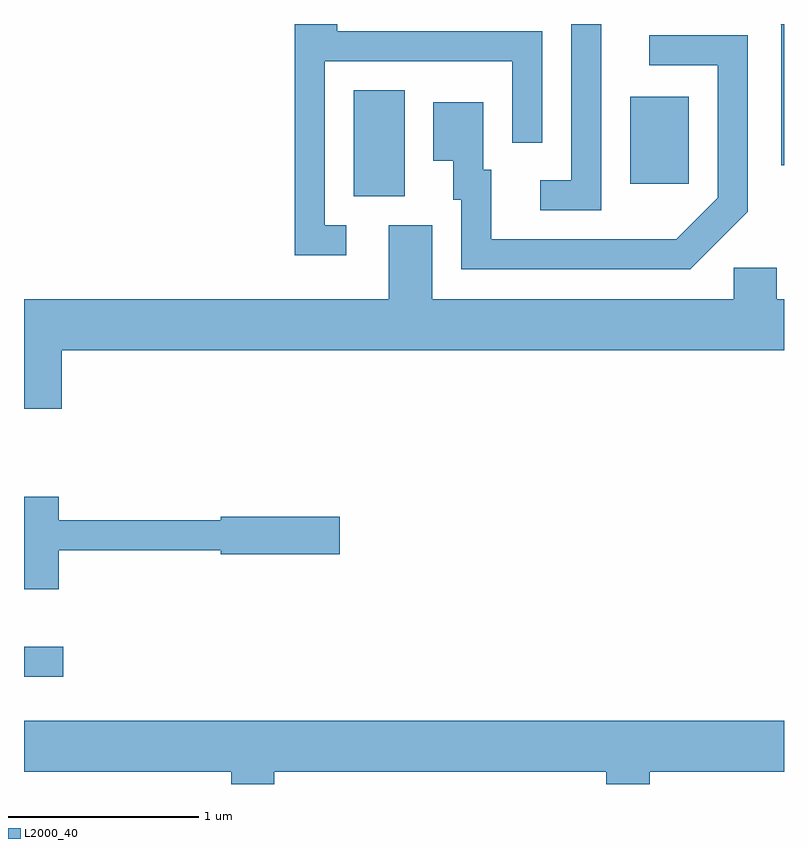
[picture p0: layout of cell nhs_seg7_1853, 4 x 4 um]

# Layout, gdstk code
import gdstk
lib = gdstk.Library(unit=1e-6, precision=1e-09)
def R(c, l, rs):  # rectangles x0, y0, x1, y1
    for r in rs: c.add(gdstk.rectangle(r[:2], r[2:], *l))
def P(c, l, *ps):  # polygons
    for p in ps: c.add(gdstk.Polygon(p, *l))
L2000_40 = (2000, 40)

nhs_seg7_1853 = lib.new_cell('nhs_seg7_1853')
R(nhs_seg7_1853, L2000_40, [(241.611,1714.816,241.818,1714.974), (243.346,1717.346,243.614,1717.904), (244.801,1717.411,245.109,1717.869)])
P(nhs_seg7_1853, L2000_40, [(244.649,1718.252),(244.491,1718.252),(244.491,1717.429),(244.328,1717.429),(244.328,1717.271),(244.649,1717.271)],
  [(245.611,1718.252),(245.593,1718.252),(245.596,1718.249),(245.596,1717.508),(245.611,1717.508)],
  [(243.308,1717.194),(243.194,1717.194),(243.194,1718.056),(244.181,1718.056),(244.181,1717.628),(244.339,1717.628),(244.339,1718.214),(243.259,1718.214),(243.259,1718.252),(243.036,1718.252),(243.036,1717.036),(243.308,1717.036)],
  [(245.419,1717.264),(245.419,1718.194),(244.903,1718.194),(244.903,1718.036),(245.261,1718.036),(245.261,1717.337),(245.044,1717.119),(244.069,1717.119),(244.069,1717.484),(244.029,1717.484),(244.029,1717.839),(243.766,1717.839),(243.766,1717.531),(243.871,1717.531),(243.871,1717.326),(243.911,1717.326),(243.911,1716.961),(245.117,1716.961)],
  [(245.611,1716.804),(245.574,1716.804),(245.574,1716.969),(245.346,1716.969),(245.346,1716.804),(243.759,1716.804),(243.759,1717.194),(243.531,1717.194),(243.531,1716.804),(241.611,1716.804),(241.611,1716.226),(241.809,1716.226),(241.809,1716.536),(245.611,1716.536)],
  [(241.794,1715.481),(242.646,1715.481),(242.646,1715.461),(243.274,1715.461),(243.274,1715.659),(242.646,1715.659),(242.646,1715.639),(241.794,1715.639),(241.794,1715.764),(241.611,1715.764),(241.611,1715.276),(241.794,1715.276)],
  [(242.929,1714.316),(244.676,1714.316),(244.676,1714.252),(244.904,1714.252),(244.904,1714.316),(245.611,1714.316),(245.611,1714.584),(241.611,1714.584),(241.611,1714.316),(242.701,1714.316),(242.701,1714.252),(242.929,1714.252)])

lib.write_gds('nhs_seg7_1853.gds')
